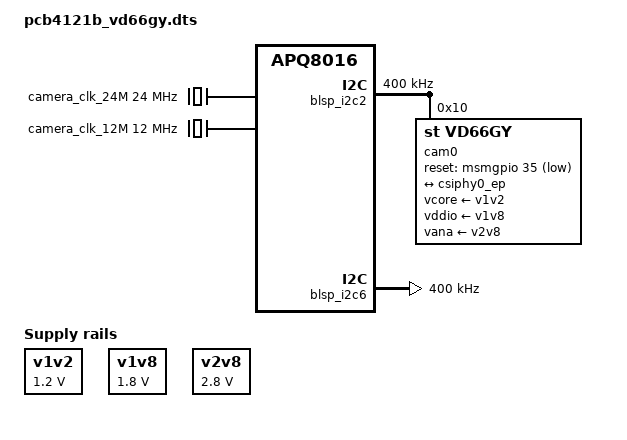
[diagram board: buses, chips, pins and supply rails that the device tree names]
/dts-v1/;
/plugin/;

/ {
	compatible = "qcom,apq8016-sbc", "qcom,apq8016", "qcom,sbc";

	fragment@1 {
		target = <&blsp_i2c2>;
		__overlay__ {
			#address-cells = <1>;
			#size-cells = <0>;
			cam0: cam0@10 {
				status = "ok";
				compatible = "st,vd66gy";
				reg = <0x10>;
				clocks = <&camera_clk_12M>;
				clock-names = "xclk";
				vcore-supply = <&v1v2>;
				vddio-supply = <&v1v8>;
				vana-supply = <&v2v8>;
				reset-gpios = <&msmgpio 35 1>;
				port {
					cam0_ep: endpoint {
						clock-lanes = <0>;
						data-lanes = <1 2>;
						remote-endpoint = <&csiphy0_ep>;
						link-frequencies =
							/bits/ 64 <402000000>;
					};
				};
			};
		};
	};

	fragment@2 {
		target = <&csiphy0_ep>;
		__overlay__ {
			status="ok";
			remote-endpoint = <&cam0_ep>;
			clock-lanes = <1>;
			data-lanes = <0 2>;
		};
	};

	fragment@100 {
		target = <&soc>;
		__overlay__ {
			camera_clk_24M: camera_clk_24M {
				#clock-cells = <0>;
				compatible = "fixed-clock";
				clock-frequency = <24000000>;
			};

			camera_clk_12M: camera_clk_12M {
				#clock-cells = <0>;
				compatible = "fixed-clock";
				clock-frequency = <12000000>;
			};

			v1v2: v1v2@0 {
				compatible = "regulator-fixed";
				regulator-name = "fixed-supply-1v2";
				regulator-min-microvolt = <1200000>;
				regulator-max-microvolt = <1200000>;
				/* we connect spider 3v3 to 2v8 throught stmipi */
				/*vin-supply = <&v2v8>;*/
			};

			v1v8: v1v8@0 {
				compatible = "regulator-fixed";
				regulator-name = "fixed-supply-1v8";
				regulator-min-microvolt = <1800000>;
				regulator-max-microvolt = <1800000>;
				/* we connect spider 3v3 to 2v8 throught stmipi */
				/*vin-supply = <&v2v8>;*/
			};

			v2v8: v2v8@0 {
				compatible = "regulator-fixed";
				regulator-name = "fixed-supply-2v8";
				regulator-min-microvolt = <2800000>;
				regulator-max-microvolt = <2800000>;
				/* we connect spider 3v3 to 2v8 throught stmipi */
				/*vin-supply = <&v2v8>;*/
			};

			camss@1b00000 {
				status = "okay";
				ports {
					#address-cells = <1>;
					#size-cells = <0>;
					port@0 {
						reg = <0>;
						csiphy0_ep: endpoint {
							status = "disabled";
						};
					};
					port@1 {
						reg = <1>;
						csiphy1_ep: endpoint {
							status = "disabled";
						};
					};
				};
			};
		};
	};

	/* set all i2c to 400Khz */
	fragment@101 {
		target = <&blsp_i2c2>;
		__overlay__ {
			clock-frequency = <400000>;
		};
	};
	fragment@102 {
		target = <&blsp_i2c6>;
		__overlay__ {
			clock-frequency = <400000>;
		};
	};
};

